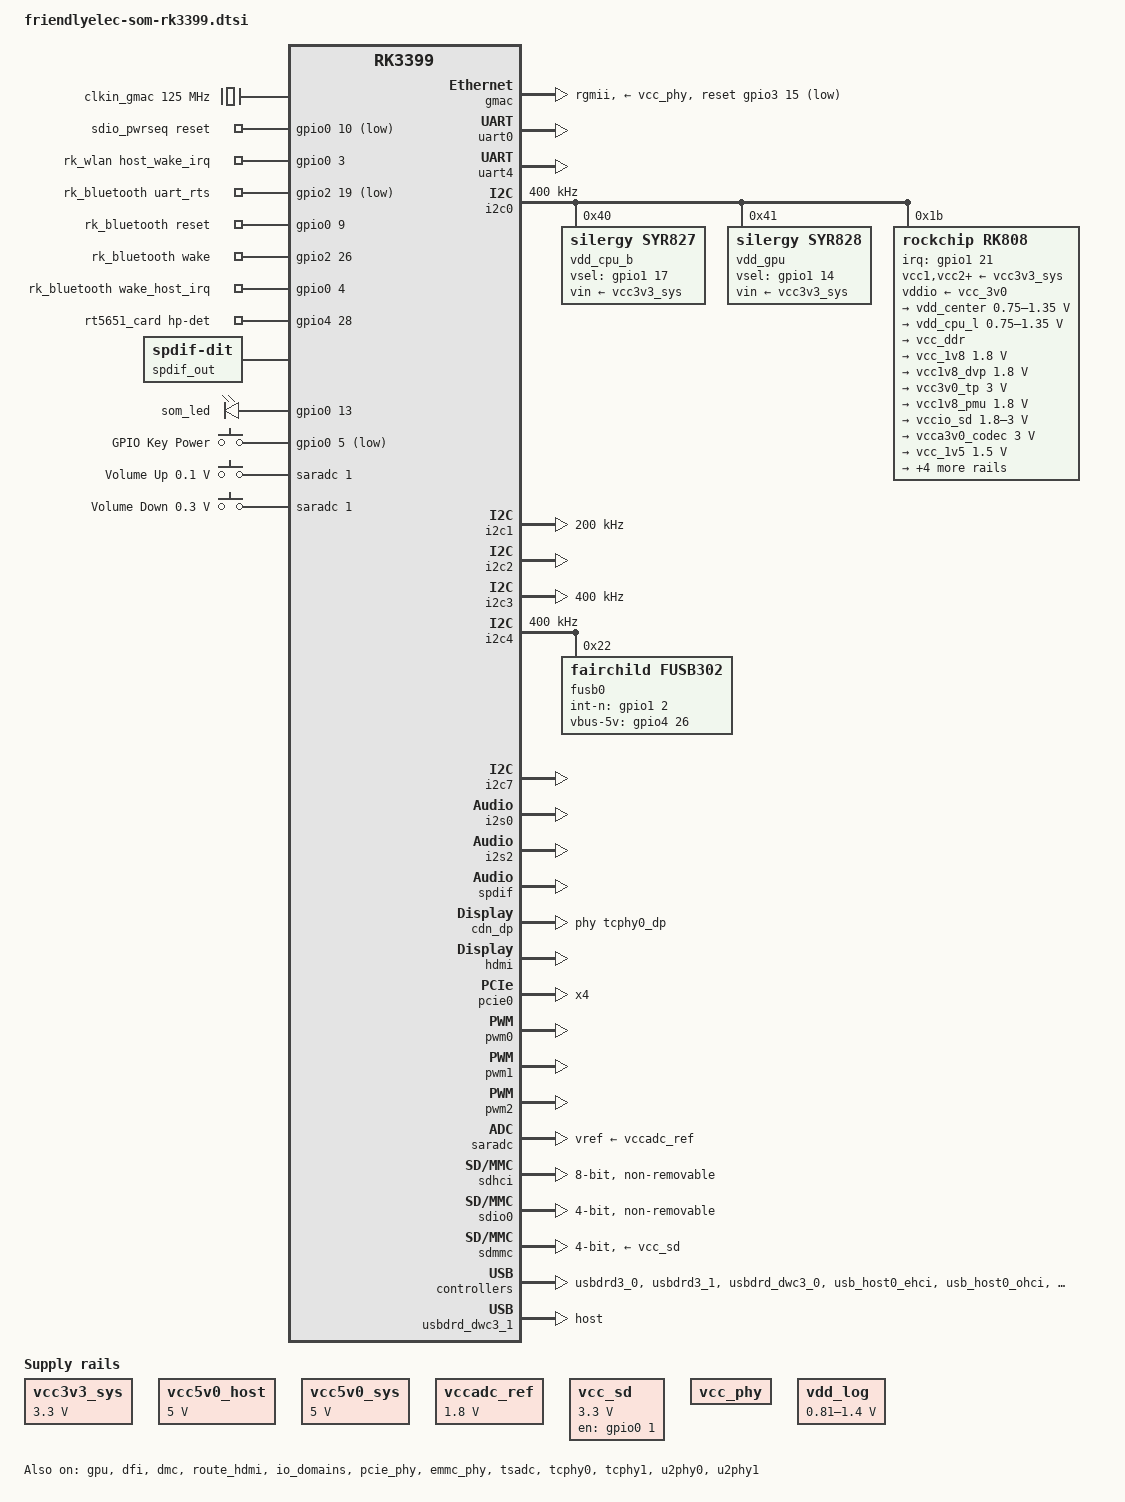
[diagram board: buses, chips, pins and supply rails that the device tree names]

#include "dt-bindings/pwm/pwm.h"
#include <dt-bindings/input/input.h>
#include "rk3399.dtsi"
#include "rk3399-opp.dtsi"
#include "rk3399-vop-clk-set.dtsi"
#include "rk3399-android.dtsi"

/ {
	compatible = "rockchip,rk3399", "friendlyelec,som-rk3399";

	aliases {
		spi1 = &spi1;
	};

	/* first 64k(0xff8c0000~0xff8d0000) for ddr and suspend */
	iram: sram@ff8d0000 {
		compatible = "mmio-sram";
		reg = <0x0 0xff8d0000 0x0 0x20000>; /* 128k */
	};

	clkin_gmac: external-gmac-clock {
		compatible = "fixed-clock";
		clock-frequency = <125000000>;
		clock-output-names = "clkin_gmac";
		#clock-cells = <0>;
	};

	vcc3v3_sys: vcc3v3-sys {
		compatible = "regulator-fixed";
		regulator-name = "vcc3v3_sys";
		regulator-always-on;
		regulator-boot-on;
		regulator-min-microvolt = <3300000>;
		regulator-max-microvolt = <3300000>;
	};

	vcc5v0_host: vcc5v0-host-regulator {
		compatible = "regulator-fixed";
		regulator-name = "vcc5v0_host";
		// gpio = <&gpio1 22 GPIO_ACTIVE_HIGH>;	/* TUSB9261 VBUS - GPIO1_C6 */
		// enable-active-high;
		regulator-always-on;
		regulator-boot-on;
		regulator-min-microvolt = <5000000>;
		regulator-max-microvolt = <5000000>;
	};

	vcc5v0_sys: vcc5v0-sys {
		compatible = "regulator-fixed";
		regulator-name = "vcc5v0_sys";
		regulator-always-on;
		regulator-boot-on;
		regulator-min-microvolt = <5000000>;
		regulator-max-microvolt = <5000000>;
	};

	vccadc_ref: vccadc-ref {
		compatible = "regulator-fixed";
		regulator-name = "vcc1v8_sys";
		regulator-always-on;
		regulator-boot-on;
		regulator-min-microvolt = <1800000>;
		regulator-max-microvolt = <1800000>;
	};

	vcc_sd: vcc-sd {
		compatible = "regulator-fixed";
		enable-active-high;
		gpio = <&gpio0 1 GPIO_ACTIVE_HIGH>;
		pinctrl-names = "default";
		pinctrl-0 = <&vcc_sd_h>;
		regulator-name = "vcc_sd";
		regulator-min-microvolt = <3300000>;
		regulator-max-microvolt = <3300000>;
	};

	vcc_phy: vcc-phy-regulator {
		compatible = "regulator-fixed";
		regulator-name = "vcc_phy";
		regulator-always-on;
		regulator-boot-on;
	};

	vdd_log: vdd-log {
		compatible = "pwm-regulator";
		pwms = <&pwm2 0 25000 1>;
		regulator-name = "vdd_log";
		regulator-min-microvolt = <810000>;
		regulator-max-microvolt = <1400000>;
		regulator-always-on;
		regulator-boot-on;

		/* for rockchip boot on */
		rockchip,pwm_id= <2>;
		rockchip,pwm_voltage = <900000>;
	};


	sdio_pwrseq: sdio-pwrseq {
		compatible = "mmc-pwrseq-simple";
		clocks = <&rk808 1>;
		clock-names = "ext_clock";
		pinctrl-names = "default";
		pinctrl-0 = <&wifi_enable_h>;

		/*
		 * On the module itself this is one of these (depending
		 * on the actual card populated):
		 * - SDIO_RESET_L_WL_REG_ON
		 * - PDN (power down when low)
		 */
		reset-gpios = <&gpio0 10 GPIO_ACTIVE_LOW>; /* GPIO0_B2 */
	};

	rk_wlan: wireless-wlan {
		status = "okay";
		compatible = "wlan-platdata";
		rockchip,grf = <&grf>;
		wifi_chip_type = "ap6354";
		sdio_vref = <1800>;
		// WIFI,poweren_gpio = <&gpiox x GPIO_ACTIVE_HIGH>; /* GPIOx_xx */
		// WIFI,reset_gpio = <&gpio0 10 GPIO_ACTIVE_HIGH>; /* GPIO0_b2 */
		WIFI,host_wake_irq = <&gpio0 3 GPIO_ACTIVE_HIGH>; /* GPIO0_a3 */
		// keep_wifi_power_on;
	};

	rk_bluetooth: wireless-bluetooth {
		status = "okay";
		compatible = "bluetooth-platdata";
		clocks = <&rk808 1>;
		clock-names = "ext_clock";
		//wifi-bt-power-toggle;
		uart_rts_gpios = <&gpio2 19 GPIO_ACTIVE_LOW>; /* GPIO2_C3 */
		pinctrl-names = "default", "rts_gpio";
		pinctrl-0 = <&uart0_rts>;
		pinctrl-1 = <&uart0_gpios>;
		// BT,power_gpio  = <&gpiox x GPIO_ACTIVE_HIGH>; /* GPIOx_xx */
		BT,reset_gpio    = <&gpio0 9 GPIO_ACTIVE_HIGH>; /* GPIO0_B1 */
		BT,wake_gpio     = <&gpio2 26 GPIO_ACTIVE_HIGH>; /* GPIO2_D2 */
		BT,wake_host_irq = <&gpio0 4 GPIO_ACTIVE_HIGH>; /* GPIO0_A4 */
	};

	rt5651_card: rt5651-sound {
		status = "okay";
		compatible = "simple-audio-card";
		pinctrl-names = "default";
		pinctrl-0 = <&hp_det>;

		simple-audio-card,name = "realtek,rt5651-codec";
		simple-audio-card,format = "i2s";
		simple-audio-card,mclk-fs = <256>;
		simple-audio-card,hp-det-gpio = <&gpio4 28 GPIO_ACTIVE_HIGH>;

		simple-audio-card,widgets =
			"Microphone", "Mic Jack",
			"Headphone", "Headphone Jack";
		simple-audio-card,routing =
			"Mic Jack", "MICBIAS1",
			"IN1P", "Mic Jack",
			"Headphone Jack", "HPOL",
			"Headphone Jack", "HPOR";

		simple-audio-card,cpu {
			sound-dai = <&i2s0>;
		};
		simple-audio-card,codec {
			sound-dai = <&rt5651>;
		};
	};

	dw_hdmi_audio: dw-hdmi-audio {
		status = "disabled";
		compatible = "rockchip,dw-hdmi-audio";
		#sound-dai-cells = <0>;
	};

	hdmi_sound: hdmi-sound {
		status = "okay";
		compatible = "simple-audio-card";
		simple-audio-card,format = "i2s";
		simple-audio-card,mclk-fs = <256>;
		simple-audio-card,name = "rockchip,hdmi";

		simple-audio-card,cpu {
			sound-dai = <&i2s2>;
		};
		simple-audio-card,codec {
			sound-dai = <&hdmi>;
		};
	};

	spdif-sound {
		status = "okay";
		compatible = "simple-audio-card";
		simple-audio-card,name = "ROCKCHIP,SPDIF";
		simple-audio-card,cpu {
			sound-dai = <&spdif>;
		};
		simple-audio-card,codec {
			sound-dai = <&spdif_out>;
		};
	};

	spdif_out: spdif-out {
		status = "okay";
		compatible = "linux,spdif-dit";
		#sound-dai-cells = <0>;
	};


	som_led: som-led {
		compatible = "gpio-leds";
		pinctrl-names = "default";
		pinctrl-0 = <&som_led_gpios>;
		led1 {
			label = "som_led";
			gpios = <&gpio0 13 GPIO_ACTIVE_HIGH>;
			linux,default-trigger = "heartbeat";
			linux,default-trigger-delay-ms = <0>;
		};
	};

	gpio_keys: gpio-keys {
		compatible = "gpio-keys";
		#address-cells = <1>;
		#size-cells = <0>;
		autorepeat;

		pinctrl-names = "default";
		pinctrl-0 = <&pwrbtn>;

		power_button: power-button@0 {
			gpios = <&gpio0 5 GPIO_ACTIVE_LOW>;
			linux,code = <KEY_POWER>;
			label = "GPIO Key Power";
			linux,input-type = <1>;
			gpio-key,wakeup = <1>;
			debounce-interval = <100>;
		};
	};


	adc-keys {
		compatible = "adc-keys";
		io-channels = <&saradc 1>;
		io-channel-names = "buttons";
		poll-interval = <100>;
		keyup-threshold-microvolt = <1800000>;

		button-up {
			label = "Volume Up";
			linux,code = <KEY_VOLUMEUP>;
			press-threshold-microvolt = <100000>;
		};

		button-down {
			label = "Volume Down";
			linux,code = <KEY_VOLUMEDOWN>;
			press-threshold-microvolt = <300000>;
		};
	};
};

&cpu_l0 {
	cpu-supply = <&vdd_cpu_l>;
};

&cpu_l1 {
	cpu-supply = <&vdd_cpu_l>;
};

&cpu_l2 {
	cpu-supply = <&vdd_cpu_l>;
};

&cpu_l3 {
	cpu-supply = <&vdd_cpu_l>;
};

&cpu_b0 {
	cpu-supply = <&vdd_cpu_b>;
};

&cpu_b1 {
	cpu-supply = <&vdd_cpu_b>;
};

&gpu {
	status = "okay";
	mali-supply = <&vdd_gpu>;
};

&dfi {
	status = "okay";
};

&dmc {
	status = "okay";
	center-supply = <&vdd_center>;
	upthreshold = <40>;
	downdifferential = <20>;
	system-status-freq = <
		/*system status         freq(KHz)*/
		SYS_STATUS_NORMAL       856000
		SYS_STATUS_REBOOT       416000
		SYS_STATUS_SUSPEND      416000
		SYS_STATUS_VIDEO_1080P  666000
		SYS_STATUS_VIDEO_4K     856000
		SYS_STATUS_VIDEO_4K_10B 856000
		SYS_STATUS_PERFORMANCE  856000
		SYS_STATUS_BOOST        856000
		SYS_STATUS_DUALVIEW     856000
		SYS_STATUS_ISP          856000
	>;
	vop-bw-dmc-freq = <
	/* min_bw(MB/s) max_bw(MB/s) freq(KHz) */
		0       924      416000
		925     1893     666000
		1894    99999    856000
	>;

	vop-pn-msch-readlatency = <
		0   0x20
		4   0x20
	>;

	auto-min-freq = <328000>;
	auto-freq-en = <1>;
};

&dmc_opp_table {
	compatible = "operating-points-v2";

	/delete-node/ opp-200000000;
	/delete-node/ opp-300000000;
	/delete-node/ opp-400000000;
	/delete-node/ opp-528000000;
	/delete-node/ opp-600000000;
	/delete-node/ opp-800000000;

	opp-328000000 {
		opp-hz = /bits/ 64 <328000000>;
		opp-microvolt = <900000>;
	};
	opp-416000000 {
		opp-hz = /bits/ 64 <416000000>;
		opp-microvolt = <900000>;
	};
	opp-666000000 {
		opp-hz = /bits/ 64 <666000000>;
		opp-microvolt = <900000>;
	};
	opp-856000000 {
		opp-hz = /bits/ 64 <856000000>;
		opp-microvolt = <900000>;
	};
};

&rga {
	status = "disabled";
};

&gmac {
	status = "okay";
	phy-supply = <&vcc_phy>;
	phy-mode = "rgmii";
	clock_in_out = "input";
	snps,reset-gpio = <&gpio3 15 GPIO_ACTIVE_LOW>;
	snps,reset-active-low;
	snps,reset-delays-us = <0 10000 50000>;
	assigned-clocks = <&cru SCLK_RMII_SRC>;
	assigned-clock-parents = <&clkin_gmac>;
	pinctrl-names = "default";
	pinctrl-0 = <&rgmii_pins>;
	snps,aal;
	snps,rxpbl = <0x4>;
	snps,txpbl = <0x4>;
	tx_delay = <0x28>;
	rx_delay = <0x11>;
	handle_cpu_id = <1>;
};

&uart0 {
	pinctrl-names = "default";
	pinctrl-0 = <&uart0_xfer &uart0_cts>;
	status = "okay";
};

&uart2 {
	status = "disabled";
};

&uart4 {
	status = "okay";
};

&spi1 {
	status = "disabled";
	pinctrl-names = "default", "sleep";
	pinctrl-1 = <&spi1_gpio>;

	spidev0: spidev@0 {
		compatible = "rockchip,spidev";
		reg = <0>;
		spi-max-frequency = <10000000>;
		status = "okay";
	};
};

&i2c0 {
	status = "okay";
	i2c-scl-rising-time-ns = <160>;
	i2c-scl-falling-time-ns = <30>;
	clock-frequency = <400000>;

	vdd_cpu_b: syr827@40 {
		compatible = "silergy,syr827";
		reg = <0x40>;
		vin-supply = <&vcc3v3_sys>;
		regulator-compatible = "fan53555-reg";
		pinctrl-names = "default";
		pinctrl-0 = <&vsel1_gpio>;
		vsel-gpios = <&gpio1 17 GPIO_ACTIVE_HIGH>;
		regulator-name = "vdd_cpu_b";
		regulator-min-microvolt = <712500>;
		regulator-max-microvolt = <1500000>;
		regulator-ramp-delay = <1000>;
		fcs,suspend-voltage-selector = <1>;
		regulator-always-on;
		regulator-boot-on;
		regulator-initial-state = <3>;
			regulator-state-mem {
			regulator-off-in-suspend;
		};
	};

	vdd_gpu: syr828@41 {
		compatible = "silergy,syr828";
		reg = <0x41>;
		vin-supply = <&vcc3v3_sys>;
		regulator-compatible = "fan53555-reg";
		pinctrl-names = "default";
		pinctrl-0 = <&vsel2_gpio>;
		vsel-gpios = <&gpio1 14 GPIO_ACTIVE_HIGH>;
		regulator-name = "vdd_gpu";
		regulator-min-microvolt = <712500>;
		regulator-max-microvolt = <1500000>;
		regulator-ramp-delay = <1000>;
		fcs,suspend-voltage-selector = <1>;
		regulator-always-on;
		regulator-boot-on;
		regulator-initial-state = <3>;
			regulator-state-mem {
			regulator-off-in-suspend;
		};
	};

	rk808: pmic@1b {
		compatible = "rockchip,rk808";
		reg = <0x1b>;
		interrupt-parent = <&gpio1>;
		interrupts = <21 IRQ_TYPE_LEVEL_LOW>;
		pinctrl-names = "default";
		pinctrl-0 = <&pmic_int_l>;
		rockchip,system-power-controller;
		wakeup-source;
		#clock-cells = <1>;
		clock-output-names = "rk808-clkout1", "rk808-clkout2";

		vcc1-supply = <&vcc3v3_sys>;
		vcc2-supply = <&vcc3v3_sys>;
		vcc3-supply = <&vcc3v3_sys>;
		vcc4-supply = <&vcc3v3_sys>;
		vcc6-supply = <&vcc3v3_sys>;
		vcc7-supply = <&vcc3v3_sys>;
		vcc8-supply = <&vcc3v3_sys>;
		vcc9-supply = <&vcc3v3_sys>;
		vcc10-supply = <&vcc3v3_sys>;
		vcc11-supply = <&vcc3v3_sys>;
		vcc12-supply = <&vcc3v3_sys>;
		vddio-supply = <&vcc_3v0>;

		regulators {
			vdd_center: DCDC_REG1 {
				regulator-always-on;
				regulator-boot-on;
				regulator-min-microvolt = <750000>;
				regulator-max-microvolt = <1350000>;
				regulator-ramp-delay = <6001>;
				regulator-name = "vdd_center";
				regulator-state-mem {
					regulator-off-in-suspend;
				};
			};

			vdd_cpu_l: DCDC_REG2 {
				regulator-always-on;
				regulator-boot-on;
				regulator-min-microvolt = <750000>;
				regulator-max-microvolt = <1350000>;
				regulator-ramp-delay = <6001>;
				regulator-name = "vdd_cpu_l";
				regulator-state-mem {
					regulator-off-in-suspend;
				};
			};

			vcc_ddr: DCDC_REG3 {
				regulator-always-on;
				regulator-boot-on;
				regulator-name = "vcc_ddr";
				regulator-state-mem {
					regulator-on-in-suspend;
				};
			};

			vcc_1v8: DCDC_REG4 {
				regulator-always-on;
				regulator-boot-on;
				regulator-min-microvolt = <1800000>;
				regulator-max-microvolt = <1800000>;
				regulator-name = "vcc_1v8";
				regulator-state-mem {
					regulator-on-in-suspend;
					regulator-suspend-microvolt = <1800000>;
				};
			};

			vcc1v8_dvp: LDO_REG1 {
				regulator-always-on;
				regulator-boot-on;
				regulator-min-microvolt = <1800000>;
				regulator-max-microvolt = <1800000>;
				regulator-name = "vcc1v8_dvp";
				regulator-state-mem {
					regulator-off-in-suspend;
				};
			};

			vcc3v0_tp: LDO_REG2 {
				regulator-always-on;
				regulator-boot-on;
				regulator-min-microvolt = <3000000>;
				regulator-max-microvolt = <3000000>;
				regulator-name = "vcc3v0_tp";
				regulator-state-mem {
					regulator-off-in-suspend;
				};
			};

			vcc1v8_pmu: LDO_REG3 {
				regulator-always-on;
				regulator-boot-on;
				regulator-min-microvolt = <1800000>;
				regulator-max-microvolt = <1800000>;
				regulator-name = "vcc1v8_pmu";
				regulator-state-mem {
					regulator-on-in-suspend;
					regulator-suspend-microvolt = <1800000>;
				};
			};

			vccio_sd: LDO_REG4 {
				regulator-always-on;
				regulator-boot-on;
				regulator-min-microvolt = <1800000>;
				regulator-max-microvolt = <3000000>;
				regulator-init-microvolt = <3000000>;
				regulator-name = "vccio_sd";
				regulator-state-mem {
					regulator-on-in-suspend;
					regulator-suspend-microvolt = <3000000>;
				};
			};

			vcca3v0_codec: LDO_REG5 {
				regulator-always-on;
				regulator-boot-on;
				regulator-min-microvolt = <3000000>;
				regulator-max-microvolt = <3000000>;
				regulator-name = "vcca3v0_codec";
				regulator-state-mem {
					regulator-off-in-suspend;
				};
			};

			vcc_1v5: LDO_REG6 {
				regulator-always-on;
				regulator-boot-on;
				regulator-min-microvolt = <1500000>;
				regulator-max-microvolt = <1500000>;
				regulator-name = "vcc_1v5";
				regulator-state-mem {
					regulator-on-in-suspend;
					regulator-suspend-microvolt = <1500000>;
				};
			};

			vcca1v8_codec: LDO_REG7 {
				regulator-always-on;
				regulator-boot-on;
				regulator-min-microvolt = <1800000>;
				regulator-max-microvolt = <1800000>;
				regulator-name = "vcca1v8_codec";
				regulator-state-mem {
					regulator-off-in-suspend;
				};
			};

			vcc_3v0: LDO_REG8 {
				regulator-always-on;
				regulator-boot-on;
				regulator-min-microvolt = <3000000>;
				regulator-max-microvolt = <3000000>;
				regulator-name = "vcc_3v0";
				regulator-state-mem {
					regulator-on-in-suspend;
					regulator-suspend-microvolt = <3000000>;
				};
			};

			vcc3v3_s3: SWITCH_REG1 {
				regulator-always-on;
				regulator-boot-on;
				regulator-name = "vcc3v3_s3";
				regulator-state-mem {
					regulator-off-in-suspend;
				};
			};

			vcc3v3_s0: SWITCH_REG2 {
				regulator-always-on;
				regulator-boot-on;
				regulator-name = "vcc3v3_s0";
				regulator-state-mem {
					regulator-off-in-suspend;
				};
			};
		};
	};
};


&i2c1 {
	status = "okay";
	i2c-scl-rising-time-ns = <150>;
	i2c-scl-falling-time-ns = <30>;
	clock-frequency = <200000>;

	rt5651: rt5651@1a {
		status = "disabled";
		#sound-dai-cells = <0>;
		compatible = "rockchip,rt5651";
		reg = <0x1a>;
		clocks = <&cru SCLK_I2S_8CH_OUT>;
		clock-names = "mclk";
		pinctrl-names = "default";
		pinctrl-0 = <&i2s_8ch_mclk>;
	};
};

&i2c2 {
	status = "okay";
};

&i2c3 {
	status = "okay";
	i2c-scl-rising-time-ns = <160>;
	i2c-scl-falling-time-ns = <30>;
	clock-frequency = <400000>;
};

&i2c4 {
	status = "okay";
	i2c-scl-rising-time-ns = <160>;
	i2c-scl-falling-time-ns = <30>;
	clock-frequency = <400000>;

	fusb0: fusb30x@22 {
		status = "okay";
		compatible = "fairchild,fusb302";
		reg = <0x22>;
		pinctrl-names = "default";
		pinctrl-0 = <&fusb0_int>;
		int-n-gpios = <&gpio1 2 GPIO_ACTIVE_HIGH>;
		vbus-5v-gpios = <&gpio4 26 GPIO_ACTIVE_HIGH>;
	};

	gt9xx: goodix_ts@5d {
		status = "disabled";
		compatible = "goodix,gt9xx";
		reg = <0x5d>;
		interrupt-parent = <&gpio1>;
		interrupts = <20 IRQ_TYPE_EDGE_FALLING>;
		goodix,touch-gpio = <&gpio1 20 GPIO_ACTIVE_HIGH>;
		goodix,reset-gpio = <&gpio1 13 GPIO_ACTIVE_LOW>;
		tp-size = <89>;
		max-x = <800>;
		max-y = <1280>;
	};

	ft5x06_ts@38 {
		status = "disabled";
		compatible = "edt,edt-ft5x06", "ft5x06";
		reg = <0x38>;
		interrupt-parent = <&gpio1>;
		interrupts = <20 IRQ_TYPE_EDGE_FALLING>;
	};

	onewire_ts@2f {
		status = "disabled";
		compatible = "onewire";
		reg = <0x2f>;
		interrupt-parent = <&gpio1>;
		interrupts = <20 IRQ_TYPE_EDGE_FALLING>;
	};
};

&i2c7 {
	status = "okay";
};

&i2s0 {
	status = "okay";
	rockchip,playback-channels = <8>;
	rockchip,capture-channels = <8>;
	#sound-dai-cells = <0>;
};

&i2s1 {
	assigned-clocks = <&cru SCLK_I2SOUT_SRC>;
	assigned-clock-parents = <&cru SCLK_I2S1_8CH>;
};

&i2s2 {
	#sound-dai-cells = <0>;
	status = "okay";
};

&spdif {
	status = "okay";
	pinctrl-0 = <&spdif_bus>;
	i2c-scl-rising-time-ns = <450>;
	i2c-scl-falling-time-ns = <15>;
	#sound-dai-cells = <0>;
};

&rga {
	status = "disabled";
};

&cdn_dp {
	status = "okay";
	extcon = <&fusb0>;
	phys = <&tcphy0_dp>;
};

&hdmi {
	status = "okay";
	/* remove the hdmi_i2c_xfer */
	pinctrl-0 = <&hdmi_cec>;
	#address-cells = <1>;
	#size-cells = <0>;
	#sound-dai-cells = <0>;
	ddc-i2c-bus = <&i2c7>;
	rockchip,defaultmode = <16>; /* CEA 1920x1080@60Hz */
};

&route_hdmi {
	status = "okay";
	logo,mode = "center";
};

&io_domains {
	status = "okay";

	bt656-supply = <&vcc1v8_dvp>;		/* bt656_gpio2ab_ms */
	audio-supply = <&vcca1v8_codec>;	/* audio_gpio3d4a_ms */
	sdmmc-supply = <&vccio_sd>;			/* sdmmc_gpio4b_ms */
	gpio1830-supply = <&vcc_3v0>;		/* gpio1833_gpio4cd_ms */
};

&pmu_io_domains {
	status = "okay";
	pmu1830-supply = <&vcc_3v0>;
};

&pcie_phy {
	status = "okay";
	assigned-clocks = <&cru SCLK_PCIEPHY_REF>;
	assigned-clock-parents = <&cru SCLK_PCIEPHY_REF100M>;
	assigned-clock-rates = <100000000>;
};

&pcie0 {
	status = "okay";
	ep-gpios = <&gpio2 4 GPIO_ACTIVE_HIGH>;
	pinctrl-names = "default";
	pinctrl-0 = <&pcie_gpios>;
	num-lanes = <4>;
	max-link-speed = <2>;
};

&pwm0 {
	status = "okay";
};

&pwm1 {
	status = "okay";
};

&pwm2 {
	status = "okay";
	pinctrl-names = "active";
	pinctrl-0 = <&pwm2_pin_pull_down>;
};

&pwm3 {
	status = "disabled";
	pinctrl-names = "default";
	pinctrl-0 = <&pwm3a_pin>;

	interrupts = <GIC_SPI 61 IRQ_TYPE_LEVEL_HIGH 0>;
	compatible = "rockchip,remotectl-pwm";
	remote_pwm_id = <3>;
	handle_cpu_id = <1>;
	remote_support_psci = <1>;

	ir_key1 {
		rockchip,usercode = <0xc43b>;
		/* /system/usr/keylayout/ff420030_pwm.kl */
		rockchip,key_table =
			<0xff	116>,
			<0xef	105>,
			<0xed	106>,
			<0xf2	103>,
			<0xea	108>,
			<0xee	232>,
			<0xe9	113>,
			<0xf1	114>,
			<0xf3	115>,
			<0xae	139>,
			<0xeb	102>,
			<0xaf	158>,
			<0xf7	216>,
			<0xe5	 99>,
			<0xf5	388>;
	};
};

&rockchip_suspend {
	status = "okay";
	rockchip,sleep-debug-en = <1>;
	rockchip,sleep-mode-config = <
		(0
		| RKPM_SLP_ARMPD
		| RKPM_SLP_PERILPPD
		| RKPM_SLP_DDR_RET
		| RKPM_SLP_PLLPD
		| RKPM_SLP_CENTER_PD
		| RKPM_SLP_AP_PWROFF
		)
		>;
	rockchip,wakeup-config = <
		(0
		| RKPM_GPIO_WKUP_EN
		| RKPM_PWM_WKUP_EN
		)
		>;
		rockchip,pwm-regulator-config = <
		(0
		| PWM2_REGULATOR_EN
		)
		>;
		rockchip,power-ctrl =
		<&gpio1 17 GPIO_ACTIVE_HIGH>,
		<&gpio1 14 GPIO_ACTIVE_HIGH>;
};

&saradc {
	status = "okay";
	vref-supply = <&vccadc_ref>; /* TBD */
};

&sdhci {
	status = "okay";
	bus-width = <8>;
	mmc-hs400-1_8v;
	supports-emmc;
	non-removable;
	keep-power-in-suspend;
	mmc-hs400-enhanced-strobe;
};

&emmc_phy {
	status = "okay";
};

&sdio0 {
	status = "okay";
	clock-frequency = <150000000>;
	clock-freq-min-max = <100000 150000000>;
	supports-sdio;
	bus-width = <4>;
	disable-wp;
	cap-sd-highspeed;
	cap-sdio-irq;
	keep-power-in-suspend;
	mmc-pwrseq = <&sdio_pwrseq>;
	non-removable;
	num-slots = <1>;
	pinctrl-names = "default";
	pinctrl-0 = <&sdio0_bus4 &sdio0_cmd &sdio0_clk>;
	sd-uhs-sdr104;
};

&sdmmc {
	status = "okay";
	clock-frequency = <150000000>;
	clock-freq-min-max = <100000 150000000>;
	supports-sd;
	bus-width = <4>;
	cap-mmc-highspeed;
	cap-sd-highspeed;
	disable-wp;
	num-slots = <1>;
	sd-uhs-sdr104;
	vmmc-supply = <&vcc_sd>;
	vqmmc-supply = <&vccio_sd>;
	pinctrl-names = "default";
	pinctrl-0 = <&sdmmc_clk &sdmmc_cmd &sdmmc_cd &sdmmc_bus4>;
};

&tsadc {
	status = "okay";
	/* tshut mode 0:CRU 1:GPIO */
	rockchip,hw-tshut-mode = <1>;
	/* tshut polarity 0:LOW 1:HIGH */
	rockchip,hw-tshut-polarity = <1>;
};

&tcphy0 {
	extcon = <&fusb0>;
	status = "okay";
};

&tcphy1 {
	status = "okay";
};


&u2phy0 {
	status = "okay";
	extcon = <&fusb0>;

	u2phy0_otg: otg-port {
		status = "okay";
	};

	u2phy0_host: host-port {
		phy-supply = <&vcc5v0_host>;
		status = "okay";
	};
};

&u2phy1 {
	status = "okay";

	u2phy1_otg: otg-port {
		status = "okay";
	};

	u2phy1_host: host-port {
		phy-supply = <&vcc5v0_host>;
		status = "okay";
	};
};

&usbdrd3_0 {
	status = "okay";
	extcon = <&fusb0>;
};

&usbdrd3_1 {
	status = "okay";
};

&usbdrd_dwc3_0 {
	status = "okay";
};

&usbdrd_dwc3_1 {
	status = "okay";
	dr_mode = "host";
};

&usb_host0_ehci {
	status = "okay";
};

&usb_host0_ohci {
	status = "okay";
};

&usb_host1_ehci {
	status = "okay";
};

&usb_host1_ohci {
	status = "okay";
};

&pinctrl {

	pcfg_input: pcfg-input {
		input-enable;
	};

	/delete-node/ isp;
	/delete-node/ cam_pins;
	
	// general_purpose_io {
	// 	rockchip,pins = 
	// 			<0 2 RK_FUNC_GPIO &pcfg_input>,		/* 37 	- GPIO0_A2 */
	// 			<2 2 RK_FUNC_GPIO &pcfg_input>,		/* 39 	- GPIO2_A2 */
	// 			<2 3 RK_FUNC_GPIO &pcfg_input>,		/* 41 	- GPIO2_A3 */
	// 			<2 4 RK_FUNC_GPIO &pcfg_input>,		/* 43 	- GPIO2_A4 */
	// 			<2 5 RK_FUNC_GPIO &pcfg_input>,		/* 45 	- GPIO2_A5 */
	// 			<2 6 RK_FUNC_GPIO &pcfg_input>,		/* 47 	- GPIO0_A6 */
	// 			<2 11 RK_FUNC_GPIO &pcfg_input>,	/* 111 	- GPIO2_B3 */
	// 			<1 0 RK_FUNC_GPIO &pcfg_input>,		/* 34 	- GPIO1_A0 */
	// 			<1 1 RK_FUNC_GPIO &pcfg_input>,		/* 36 	- GPIO1_A1 */
	// 			<1 3 RK_FUNC_GPIO &pcfg_input>,		/* 38 	- GPIO1_A3 */
	// 			<1 4 RK_FUNC_GPIO &pcfg_input>,		/* 40 	- GPIO1_A4 */
	// 			<1 18 RK_FUNC_GPIO &pcfg_input>,	/* 42 	- GPIO1_C2 */
	// 			<1 22 RK_FUNC_GPIO &pcfg_input>,	/* 44 	- GPIO1_C6 */
	// 			<1 23 RK_FUNC_GPIO &pcfg_input>,	/* 46 	- GPIO1_C7 */
	// 			<1 24 RK_FUNC_GPIO &pcfg_input>,	/* 48 	- GPIO1_D0 */
	// 			<4 21 RK_FUNC_GPIO &pcfg_input>,	/* 50 	- GPIO4_C5 */
	// 			<2 2 RK_FUNC_GPIO &pcfg_input>;
	// };

	edp {
		/delete-node/ edp-hpd;
	};

	hdmi {
		/delete-node/ hdmi-i2c-xfer;
	};

	pmic {
		pmic_int_l: pmic-int-l {
			rockchip,pins =
				<1 21 RK_FUNC_GPIO &pcfg_pull_up>;
		};
		vsel1_gpio: vsel1-gpio {
			rockchip,pins =
				<1 17 RK_FUNC_GPIO &pcfg_pull_down>;
		};
		vsel2_gpio: vsel2-gpio {
			rockchip,pins =
				<1 14 RK_FUNC_GPIO &pcfg_pull_down>;
		};
	};

	vcc_sd {
		vcc_sd_h: vcc-sd-h {
			rockchip,pins =
				<0 1 RK_FUNC_GPIO &pcfg_pull_up>;
		};
	};

	fusb30x {
		fusb0_int: fusb0-int {
			rockchip,pins = <1 2 RK_FUNC_GPIO &pcfg_pull_up>;
		};
	};

	sdio-pwrseq {
		wifi_enable_h: wifi-enable-h {
			rockchip,pins = <0 10 RK_FUNC_GPIO &pcfg_pull_none>;
		};
	};

	wireless-bluetooth {
		uart0_gpios: uart0-gpios {
			rockchip,pins = <2 19 RK_FUNC_GPIO &pcfg_pull_none>;
		};
	};


	headphone {
		hp_det: hp-det {
			rockchip,pins = <4 28 RK_FUNC_GPIO &pcfg_pull_none>;
		};
	};

	leds {
		som_led_gpios: som-led-gpios {
			rockchip,pins = <0 13 RK_FUNC_GPIO &pcfg_pull_none>;
		};
	};

	buttons {
		pwrbtn: pwrbtn {
			rockchip,pins = <0 5 RK_FUNC_GPIO &pcfg_pull_up>;
		};
	};

	spi1 {
		spi1_gpio: spi1-gpio {
			rockchip,pins =
				<1 7 RK_FUNC_GPIO &pcfg_output_low>,
				<1 8 RK_FUNC_GPIO &pcfg_output_low>,
				<1 9 RK_FUNC_GPIO &pcfg_output_low>,
				<1 10 RK_FUNC_GPIO &pcfg_output_low>;
		};
	};

	hdmiin {
		hdmiin_gpios: hdmiin-gpios {
			rockchip,pins =
				<1 0 RK_FUNC_GPIO &pcfg_output_high>,
				<2 6 RK_FUNC_GPIO &pcfg_output_high>,
				<2 5 RK_FUNC_GPIO &pcfg_pull_none>,
				<0 2 RK_FUNC_GPIO &pcfg_pull_none>;
		};
	};
};
